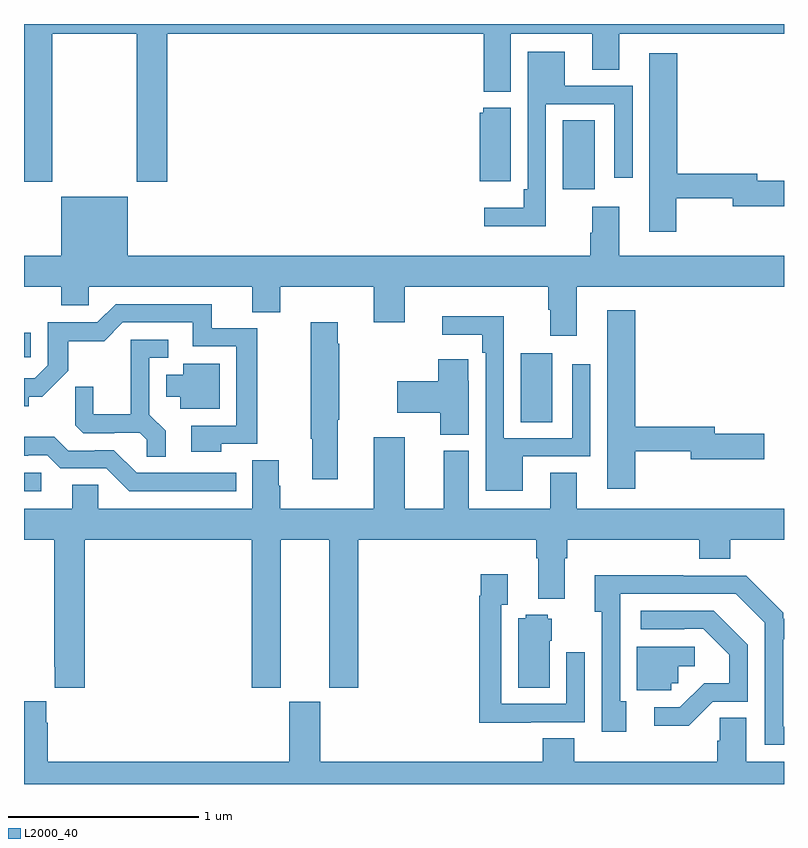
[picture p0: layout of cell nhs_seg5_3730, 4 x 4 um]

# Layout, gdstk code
import gdstk
lib = gdstk.Library(unit=1e-6, precision=1e-09)
def R(c, l, rs):  # rectangles x0, y0, x1, y1
    for r in rs: c.add(gdstk.rectangle(r[:2], r[2:], *l))
def P(c, l, *ps):  # polygons
    for p in ps: c.add(gdstk.Polygon(p, *l))
L2000_40 = (2000, 40)

nhs_seg5_3730 = lib.new_cell('nhs_seg5_3730')
R(nhs_seg5_3730, L2000_40, [(331,866.34,331.09,866.436), (333.614,866.704,333.781,867.067), (331,867.045,331.035,867.174), (333.836,867.93,334.003,868.292)])
P(nhs_seg5_3730, L2000_40, [(331.149,868.748),(331.594,868.748),(331.594,867.969),(331.754,867.969),(331.754,868.748),(333.419,868.748),(333.419,868.442),(333.562,868.442),(333.562,868.748),(333.992,868.748),(333.992,868.558),(334.132,868.558),(334.132,868.748),(335,868.748),(335,868.799),(331,868.799),(331,867.969),(331.149,867.969)],
  [(333.747,868.377),(334.107,868.377),(334.107,867.99),(334.203,867.99),(334.203,868.473),(333.847,868.473),(333.847,868.654),(333.651,868.654),(333.651,867.928),(333.631,867.928),(333.631,867.832),(333.423,867.832),(333.423,867.734),(333.747,867.734)],
  [(334.434,867.882),(334.73,867.882),(334.73,867.839),(335,867.839),(335,867.974),(334.858,867.974),(334.858,868.01),(334.439,868.01),(334.439,868.645),(334.292,868.645),(334.292,867.705),(334.434,867.705)],
  [(333.562,868.357),(333.417,868.357),(333.417,868.332),(333.398,868.332),(333.398,867.971),(333.562,867.971)],
  [(333.91,867.416),(335,867.416),(335,867.58),(334.132,867.58),(334.132,867.838),(333.992,867.838),(333.992,867.701),(333.98,867.701),(333.98,867.58),(331.546,867.58),(331.546,867.889),(331.196,867.889),(331.196,867.58),(331,867.58),(331,867.416),(331.195,867.416),(331.195,867.318),(331.341,867.318),(331.341,867.416),(332.201,867.416),(332.201,867.283),(332.349,867.283),(332.349,867.416),(332.84,867.416),(332.84,867.228),(333.004,867.228),(333.004,867.416),(333.758,867.416),(333.758,867.296),(333.77,867.296),(333.77,867.159),(333.91,867.159)],
  [(332.037,866.589),(332.227,866.589),(332.227,867.198),(331.988,867.198),(331.988,867.324),(331.482,867.324),(331.386,867.228),(331.125,867.228),(331.125,867.003),(331.056,866.934),(331,866.934),(331,866.787),(331.026,866.787),(331.026,866.837),(331.096,866.837),(331.234,866.974),(331.234,867.13),(331.423,867.13),(331.521,867.228),(331.889,867.228),(331.889,867.102),(332.118,867.102),(332.118,866.685),(331.881,866.685),(331.881,866.549),(332.037,866.549)],
  [(334.217,866.55),(334.508,866.55),(334.508,866.507),(334.897,866.507),(334.897,866.642),(334.636,866.642),(334.636,866.678),(334.217,866.678),(334.217,867.292),(334.07,867.292),(334.07,866.352),(334.217,866.352)],
  [(333.625,866.523),(333.981,866.523),(333.981,867.007),(333.885,867.007),(333.885,866.619),(333.525,866.619),(333.525,867.262),(333.201,867.262),(333.201,867.164),(333.413,867.164),(333.413,867.068),(333.429,867.068),(333.429,866.342),(333.625,866.342)],
  [(332.65,866.715),(332.658,866.715),(332.658,867.116),(332.65,867.116),(332.65,867.229),(332.509,867.229),(332.509,866.615),(332.516,866.615),(332.516,866.403),(332.65,866.403)],
  [(331.745,866.657),(331.659,866.743),(331.659,867.042),(331.759,867.042),(331.759,867.138),(331.562,867.138),(331.562,866.746),(331.364,866.746),(331.364,866.889),(331.27,866.889),(331.27,866.687),(331.311,866.646),(331.476,866.646),(331.476,866.649),(331.61,866.649),(331.647,866.612),(331.647,866.521),(331.745,866.521)],
  [(333.34,866.921),(333.339,866.921),(333.339,867.034),(333.179,867.034),(333.179,866.919),(332.964,866.919),(332.964,866.753),(333.191,866.753),(333.191,866.638),(333.34,866.638)],
  [(332.029,867.01),(331.838,867.01),(331.838,866.953),(331.748,866.953),(331.748,866.837),(331.823,866.837),(331.823,866.774),(332.029,866.774)],
  [(332.116,866.436),(331.593,866.436),(331.473,866.556),(331.372,866.556),(331.372,866.553),(331.233,866.553),(331.16,866.626),(331,866.626),(331,866.526),(331.022,866.526),(331.022,866.529),(331.122,866.529),(331.191,866.46),(331.434,866.46),(331.554,866.34),(332.116,866.34)],
  [(331.319,866.084),(332.198,866.084),(332.198,865.305),(332.35,865.305),(332.35,866.084),(332.606,866.084),(332.606,865.305),(332.759,865.305),(332.759,866.084),(333.695,866.084),(333.695,865.988),(333.707,865.988),(333.707,865.775),(333.847,865.775),(333.847,865.988),(333.86,865.988),(333.86,866.084),(334.553,866.084),(334.553,865.985),(334.718,865.985),(334.718,866.084),(335,866.084),(335,866.248),(333.91,866.248),(333.91,866.438),(333.77,866.438),(333.77,866.248),(333.34,866.248),(333.34,866.553),(333.209,866.553),(333.209,866.248),(333.004,866.248),(333.004,866.623),(332.84,866.623),(332.84,866.248),(332.349,866.248),(332.349,866.37),(332.341,866.37),(332.341,866.504),(332.201,866.504),(332.201,866.248),(331.392,866.248),(331.392,866.375),(331.253,866.375),(331.253,866.248),(331,866.248),(331,866.084),(331.159,866.084),(331.159,865.417),(331.163,865.417),(331.163,865.305),(331.319,865.305)],
  [(333.667,865.125),(333.951,865.125),(333.951,865.492),(333.855,865.492),(333.855,865.221),(333.513,865.221),(333.513,865.742),(333.547,865.742),(333.547,865.903),(333.405,865.903),(333.405,865.79),(333.397,865.79),(333.397,865.121),(333.667,865.121)],
  [(335,865.101),(334.996,865.101),(334.996,865.56),(335,865.56),(335,865.669),(334.995,865.669),(334.995,865.701),(334.8,865.896),(334.469,865.896),(334.469,865.898),(334.004,865.898),(334.004,865.706),(334.041,865.706),(334.041,865.074),(334.171,865.074),(334.171,865.234),(334.137,865.234),(334.137,865.8),(334.746,865.8),(334.899,865.647),(334.899,865.005),(335,865.005)],
  [(334.626,865.233),(334.809,865.233),(334.809,865.531),(334.63,865.71),(334.245,865.71),(334.245,865.614),(334.475,865.614),(334.475,865.617),(334.575,865.617),(334.712,865.48),(334.712,865.33),(334.579,865.33),(334.452,865.203),(334.317,865.203),(334.317,865.106),(334.498,865.106)],
  [(333.766,865.554),(333.778,865.554),(333.778,865.668),(333.756,865.668),(333.756,865.69),(333.642,865.69),(333.642,865.672),(333.602,865.672),(333.602,865.306),(333.766,865.306)],
  [(334.407,865.329),(334.443,865.329),(334.443,865.418),(334.531,865.418),(334.531,865.521),(334.226,865.521),(334.226,865.293),(334.407,865.293)],
  [(335,864.916),(334.801,864.916),(334.801,865.148),(334.663,865.148),(334.663,865.026),(334.649,865.026),(334.649,864.916),(333.896,864.916),(333.896,865.04),(333.731,865.04),(333.731,864.916),(332.56,864.916),(332.56,865.233),(332.396,865.233),(332.396,864.916),(331.124,864.916),(331.124,865.121),(331.117,865.121),(331.117,865.234),(331,865.234),(331,864.799),(335,864.799)])

lib.write_gds('nhs_seg5_3730.gds')
